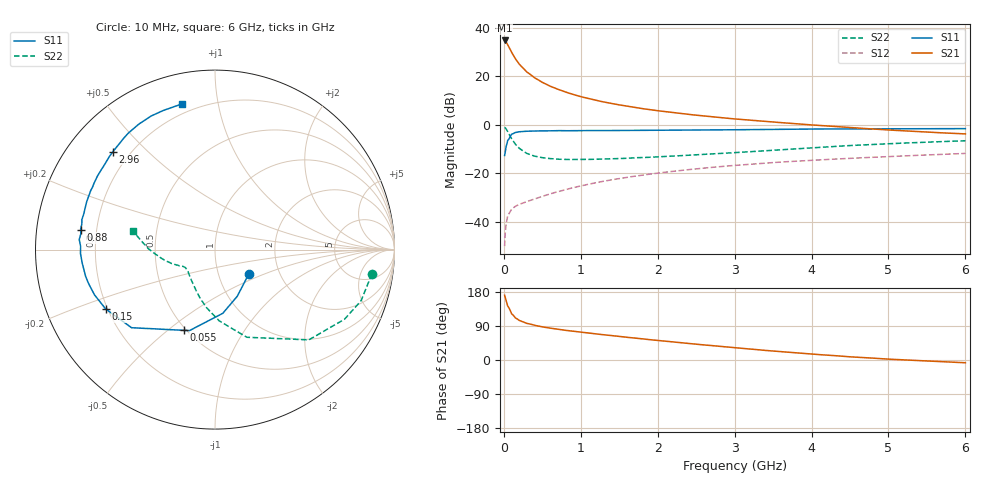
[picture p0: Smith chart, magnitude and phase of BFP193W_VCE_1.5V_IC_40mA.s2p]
! Infineon Technologies  Discrete & RF Semiconductors
! BFP193W
! VCE = 1.5 V,  IC =  40 mA
! Common Emitter S-Parameters:  Jan 2016
# GHz  S  MA  R  50
!  f  S11  S21  S12  S22
! GHz  MAG  ANG  MAG  ANG  MAG  ANG  MAG  ANG
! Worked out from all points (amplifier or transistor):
!   210 points, 10 MHz to 6 GHz, reference 50 ohm
!   highest |S21| = 34.9 dB at 10 MHz (marker M1)
!   |S21| within 3 dB of that: start of sweep to 70.05 MHz
!   unconditionally stable (mu >= 1): 557.1 MHz to 4.417 GHz; 4.647 GHz to 4.986 GHz; 5.033 GHz to 5.129 GHz
!   at 185 MHz: K = 0.54, MSG = 29.5 dB, |S12| = -33.2 dB
!   at 1.52 GHz: K = 1.17, MAG = 12.6 dB, |S12| = -22.1 dB
!   at 6 GHz: K = 0.97, MSG = 4.0 dB, |S12| = -11.8 dB
!   S11 on the Smith chart (normalised r, x): 10 MHz: 1.39, -0.41; 55 MHz: 0.49, -0.57; 150 MHz: 0.19, -0.25; 880 MHz: 0.14, +0.07; 2.96 GHz: 0.14, +0.40; 6 GHz: 0.15, +0.79
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0.01  0.2326 -36.5  55.28 170.8  0.0031 82.4  0.8851 -8.8
0.02  0.2884 -64.6  53.81 163.2  0.0063 73.3  0.8619 -19.4
0.03  0.3575 -83.0  51.52 155.6  0.0089 69.8  0.8191 -28.3
0.05  0.4733 -107.5  45.13 142.5  0.013 60.5  0.7252 -43.9
0.055  0.4825 -111.2  43.59 141.1  0.0134 58.7  0.6997 -45.8
0.1  0.6369 -136.9  31.51 122.2  0.0179 46.9  0.5198 -70.0
0.15  0.693 -151.5  23.07 111.0  0.0207 41.9  0.3979 -86.6
0.2  0.7171 -159.4  17.94 104.5  0.0226 42.2  0.3278 -98.1
0.24  0.726 -163.7  15.31 101.1  0.0239 43.4  0.2937 -104.6
0.3  0.7362 -168.4  12.29 96.6  0.0259 45.3  0.2555 -113.6
0.4  0.7435 -174.1  9.339 91.4  0.0293 48.6  0.225 -123.6
0.5  0.7498 -178.3  7.527 87.3  0.0332 52.0  0.2093 -130.8
0.6  0.7489 178.6  6.291 84.1  0.0371 54.3  0.2002 -136.2
0.88  0.7563 171.7  4.333 76.4  0.0492 58.8  0.192 -144.6
1.02  0.7563 168.8  3.743 73.2  0.0553 60.2  0.1927 -147.4
1.4  0.7608 161.7  2.755 64.4  0.0728 60.9  0.1994 -151.6
2.02  0.7691 150.8  1.936 51.3  0.1012 59.3  0.2185 -155.6
2.96  0.7881 136.1  1.34 33.3  0.143 53.2  0.2632 -164.3
3.1  0.7915 134.0  1.283 30.8  0.1487 52.1  0.2715 -165.6
4.1  0.8186 120.1  0.969 14.2  0.1882 44.4  0.3406 -176.8
5.1  0.8268 109.7  0.765 1.4  0.2237 37.3  0.4127 173.3
6  0.8327 102.6  0.648 -7.3  0.2559 31.5  0.4675 167.1
